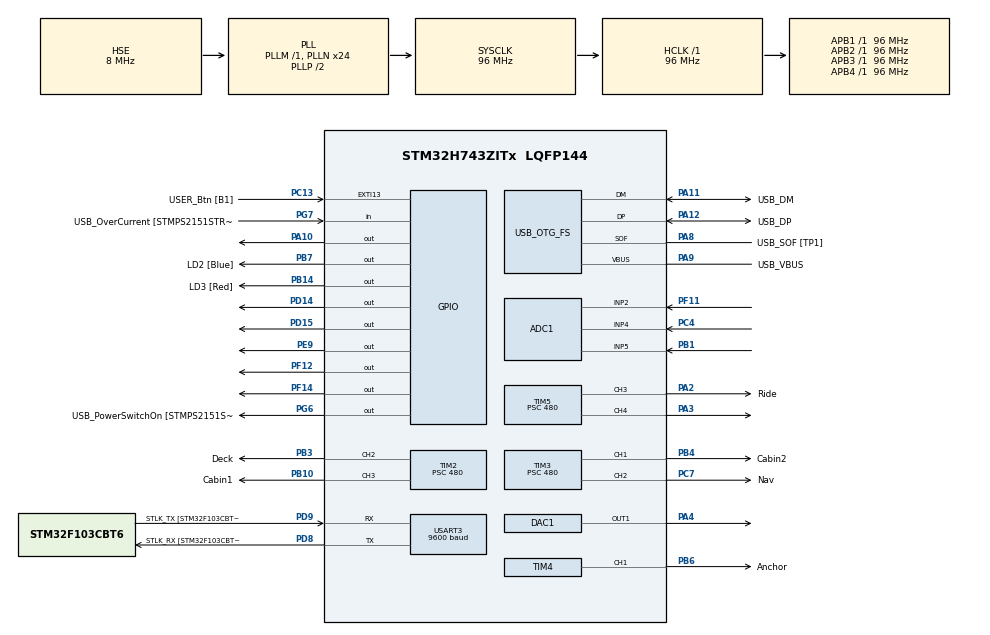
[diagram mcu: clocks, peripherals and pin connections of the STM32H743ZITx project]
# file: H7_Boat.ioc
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ADC1.Channel-0\#ChannelRegularConversion=ADC_CHANNEL_2
ADC1.Channel-1\#ChannelRegularConversion=ADC_CHANNEL_4
ADC1.Channel-3\#ChannelRegularConversion=ADC_CHANNEL_5
ADC1.ContinuousConvMode=DISABLE
ADC1.ConversionDataManagement=ADC_CONVERSIONDATA_DR
ADC1.DiscontinuousConvMode=DISABLE
ADC1.ExternalTrigConv=ADC_SOFTWARE_START
ADC1.LeftBitShift=ADC_LEFTBITSHIFT_NONE
ADC1.NbrOfConversion=3
ADC1.NbrOfConversionFlag=1
ADC1.OffsetNumber-0\#ChannelRegularConversion=ADC_OFFSET_NONE
ADC1.OffsetNumber-1\#ChannelRegularConversion=ADC_OFFSET_NONE
ADC1.OffsetNumber-3\#ChannelRegularConversion=ADC_OFFSET_NONE
ADC1.OversamplingMode=DISABLE
ADC1.Rank-0\#ChannelRegularConversion=1
ADC1.Rank-1\#ChannelRegularConversion=2
ADC1.Rank-3\#ChannelRegularConversion=3
ADC1.SamplingTime-0\#ChannelRegularConversion=ADC_SAMPLETIME_16CYCLES_5
ADC1.SamplingTime-1\#ChannelRegularConversion=ADC_SAMPLETIME_16CYCLES_5
ADC1.SamplingTime-3\#ChannelRegularConversion=ADC_SAMPLETIME_1CYCLE_5
ADC1.master=1
DAC1.DAC_SampleAndHold-DAC_OUT1=DAC_SAMPLEANDHOLD_DISABLE
Mcu.Family=STM32H7
Mcu.Name=STM32H743ZITx
Mcu.Package=LQFP144
NVIC.ADC_IRQn=true\:0\:0\:false\:false\:true\:true
NVIC.PriorityGroup=NVIC_PRIORITYGROUP_4
NVIC.TIM1_BRK_IRQn=true\:0\:0\:false\:false\:true\:true
NVIC.TIM1_CC_IRQn=true\:0\:0\:false\:false\:true\:true
NVIC.TIM1_TRG_COM_IRQn=true\:0\:0\:false\:false\:true\:true
NVIC.TIM1_UP_IRQn=true\:0\:0\:false\:false\:true\:true
NVIC.TIM3_IRQn=true\:0\:0\:false\:false\:true\:true
NVIC.TIM6_DAC_IRQn=true\:0\:0\:false\:false\:true\:true
NVIC.TIM8_BRK_TIM12_IRQn=true\:0\:0\:false\:false\:true\:true
NVIC.TIM8_CC_IRQn=true\:0\:0\:false\:false\:true\:true
NVIC.TIM8_TRG_COM_TIM14_IRQn=true\:0\:0\:false\:false\:true\:true
NVIC.TIM8_UP_TIM13_IRQn=true\:0\:0\:false\:false\:true\:true
NVIC.USART3_IRQn=true\:0\:0\:false\:false\:true\:true
PA10.Signal=GPIO_Output
PA11.GPIO_Label=USB_DM
PA11.Mode=Device_Only
PA11.Signal=USB_OTG_FS_DM
PA12.GPIO_Label=USB_DP
PA12.Mode=Device_Only
PA12.Signal=USB_OTG_FS_DP
PA13\ (JTMS/SWDIO).GPIO_Label=TMS
PA13\ (JTMS/SWDIO).Mode=Serial_Wire
PA13\ (JTMS/SWDIO).Signal=SYS_JTMS-SWDIO
PA14\ (JTCK/SWCLK).GPIO_Label=TCK
PA14\ (JTCK/SWCLK).Mode=Serial_Wire
PA14\ (JTCK/SWCLK).Signal=SYS_JTCK-SWCLK
PA2.GPIO_Label=Ride
PA2.Signal=S_TIM5_CH3
PA3.Signal=S_TIM5_CH4
PA4.Signal=COMP_DAC11_group
PA8.GPIO_Label=USB_SOF [TP1]
PA8.Mode=Activate_SOF_FS
PA8.Signal=USB_OTG_FS_SOF
PA9.GPIO_Label=USB_VBUS
PA9.Mode=Activate_VBUS
PA9.Signal=USB_OTG_FS_VBUS
PB1.Signal=ADCx_INP5
PB10.GPIO_Label=Cabin1
PB10.Signal=S_TIM2_CH3
PB14.GPIO_Label=LD3 [Red]
PB14.Signal=GPIO_Output
PB3\ (JTDO/TRACESWO).GPIO_Label=Deck
PB3\ (JTDO/TRACESWO).Signal=S_TIM2_CH2
PB4\ (NJTRST).GPIO_Label=Cabin2
PB4\ (NJTRST).Signal=S_TIM3_CH1
PB6.GPIO_Label=Anchor
PB6.Signal=S_TIM4_CH1
PB7.GPIO_Label=LD2 [Blue]
PB7.Signal=GPIO_Output
PC13.GPIO_Label=USER_Btn [B1]
PC13.Signal=GPXTI13
PC14-OSC32_IN\ (OSC32_IN).Mode=LSE-External-Oscillator
PC14-OSC32_IN\ (OSC32_IN).Signal=RCC_OSC32_IN
PC15-OSC32_OUT\ (OSC32_OUT).Mode=LSE-External-Oscillator
PC15-OSC32_OUT\ (OSC32_OUT).Signal=RCC_OSC32_OUT
PC4.Signal=ADCx_INP4
PC7.GPIO_Label=Nav
PC7.Signal=S_TIM3_CH2
PD14.Signal=GPIO_Output
PD15.Signal=GPIO_Output
PD8.GPIO_Label=STLK_RX [STM32F103CBT6_PA3]
PD8.Mode=Asynchronous
PD8.Signal=USART3_TX
PD9.GPIO_Label=STLK_TX [STM32F103CBT6_PA2]
PD9.Mode=Asynchronous
PD9.Signal=USART3_RX
PE9.Signal=GPIO_Output
PF11.Mode=IN2-Single-Ended
PF11.Signal=ADC1_INP2
PF12.Signal=GPIO_Output
PF14.Signal=GPIO_Output
PG6.GPIO_Label=USB_PowerSwitchOn [STMPS2151STR_EN]
PG6.Signal=GPIO_Output
PG7.GPIO_Label=USB_OverCurrent [STMPS2151STR_FAULT]
PG7.Signal=GPIO_Input
PH0-OSC_IN\ (PH0).GPIO_Label=MCO
PH0-OSC_IN\ (PH0).Mode=HSE-External-Oscillator
PH0-OSC_IN\ (PH0).Signal=RCC_OSC_IN
PH1-OSC_OUT\ (PH1).Mode=HSE-External-Oscillator
PH1-OSC_OUT\ (PH1).Signal=RCC_OSC_OUT
ProjectManager.HeapSize=0x200
ProjectManager.StackSize=0x400
ProjectManager.TargetToolchain=TrueSTUDIO
RCC.48MHZClocksFreq_Value=24000000
RCC.ADCCLockSelection=RCC_ADCCLKSOURCE_CLKP
RCC.ADCFreq_Value=64000000
RCC.AHBFreq_Value=216000000
RCC.APB1CLKDivider=RCC_HCLK_DIV4
RCC.APB1Freq_Value=96000000
RCC.APB1TimFreq_Value=108000000
RCC.APB2CLKDivider=RCC_HCLK_DIV2
RCC.APB2Freq_Value=96000000
RCC.APB2TimFreq_Value=216000000
RCC.APB3Freq_Value=96000000
RCC.APB4Freq_Value=96000000
RCC.CortexFreq_Value=96000000
RCC.DIVM1=1
RCC.DIVM2=8
RCC.DIVN1=24
RCC.DIVN2=156
RCC.DIVP2=8
RCC.DIVQ1=4
RCC.HCLKFreq_Value=96000000
RCC.HSE_VALUE=8000000
RCC.HSI_VALUE=64000000
RCC.PLLM=25
RCC.PLLMUL=RCC_PLL_MUL9
RCC.PLLN=432
RCC.PLLQ=9
RCC.PRESCALERUSB=RCC_USBCLKSOURCE_PLL_DIV1_5
RCC.SYSCLKFreq_VALUE=96000000
RCC.SYSCLKSource=RCC_SYSCLKSOURCE_PLLCLK
RCC.SYSCLKSourceVirtual=RCC_SYSCLKSOURCE_PLLCLK
RCC.USBFreq_Value=48000000
RCC.VCOOutputFreq_Value=432000000
SH.ADCx_INP4.0=ADC1_INP4,IN4-Single-Ended
SH.ADCx_INP5.0=ADC1_INP5,IN5-Single-Ended
SH.COMP_DAC11_group.0=DAC1_OUT1,DAC_OUT1
SH.S_TIM2_CH2.0=TIM2_CH2,PWM Generation2 CH2
SH.S_TIM2_CH3.0=TIM2_CH3,PWM Generation3 CH3
SH.S_TIM3_CH1.0=TIM3_CH1,PWM Generation1 CH1
SH.S_TIM3_CH2.0=TIM3_CH2,PWM Generation2 CH2
SH.S_TIM4_CH1.0=TIM4_CH1,PWM Generation1 CH1
SH.S_TIM5_CH3.0=TIM5_CH3,PWM Generation3 CH3
SH.S_TIM5_CH4.0=TIM5_CH4,PWM Generation4 CH4
TIM1.AutoReloadPreload=TIM_AUTORELOAD_PRELOAD_ENABLE
TIM1.Channel-Output\ Compare1\ No\ Output=TIM_CHANNEL_1
TIM1.Period=19960
TIM1.Prescaler=48000
TIM13.AutoReloadPreload=TIM_AUTORELOAD_PRELOAD_ENABLE
TIM13.Channel=TIM_CHANNEL_1
TIM13.Period=333
TIM13.Prescaler=480
TIM2.AutoReloadPreload=TIM_AUTORELOAD_PRELOAD_ENABLE
TIM2.Channel-PWM\ Generation2\ CH2=TIM_CHANNEL_2
TIM2.Channel-PWM\ Generation3\ CH3=TIM_CHANNEL_3
TIM2.Period=499
TIM2.Prescaler=480
TIM3.AutoReloadPreload=TIM_AUTORELOAD_PRELOAD_ENABLE
TIM3.Channel-PWM\ Generation1\ CH1=TIM_CHANNEL_1
TIM3.Channel-PWM\ Generation2\ CH2=TIM_CHANNEL_2
TIM3.Period=499
TIM3.Prescaler=480
TIM4.AutoReloadPreload=TIM_AUTORELOAD_PRELOAD_ENABLE
TIM4.Channel-PWM\ Generation1\ CH1=TIM_CHANNEL_1
TIM4.Period=499
TIM4.Prescaler=480
TIM5.AutoReloadPreload=TIM_AUTORELOAD_PRELOAD_ENABLE
TIM5.Channel-PWM\ Generation3\ CH3=TIM_CHANNEL_3
TIM5.Channel-PWM\ Generation4\ CH4=TIM_CHANNEL_4
TIM5.Period=499
TIM5.Prescaler=480
TIM8.AutoReloadPreload=TIM_AUTORELOAD_PRELOAD_ENABLE
TIM8.Channel-Output\ Compare1\ No\ Output=TIM_CHANNEL_1
TIM8.Period=29940
TIM8.Prescaler=48000
USART3.BaudRate=9600
USART3.VirtualMode-Asynchronous=VM_ASYNC
USB_OTG_FS.VirtualMode=Device_Only
VP_TIM13_VS_ClockSourceINT.Mode=Enable_Timer
VP_TIM13_VS_no_output1.Mode=Output Compare1 No Output
VP_TIM1_VS_ClockSourceINT.Mode=Internal
VP_TIM1_VS_no_output1.Mode=Output Compare1 No Output
VP_TIM2_VS_ClockSourceINT.Mode=Internal
VP_TIM3_VS_ClockSourceINT.Mode=Internal
VP_TIM4_VS_ClockSourceINT.Mode=Internal
VP_TIM5_VS_ClockSourceINT.Mode=Internal
VP_TIM8_VS_ClockSourceINT.Mode=Internal
VP_TIM8_VS_no_output1.Mode=Output Compare1 No Output
board=NUCLEO-H743ZI

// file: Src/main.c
/* USER CODE BEGIN Header */
/**
  ******************************************************************************
  * @file           : main.c
  * @brief          : Main program body
  ******************************************************************************
  ** This notice applies to any and all portions of this file
  * that are not between comment pairs USER CODE BEGIN and
  * USER CODE END. Other portions of this file, whether
  * inserted by the user or by software development tools
  * are owned by their respective copyright owners.
  *
  * COPYRIGHT(c) 2019 STMicroelectronics
  *
  * Redistribution and use in source and binary forms, with or without modification,
  * are permitted provided that the following conditions are met:
  *   1. Redistributions of source code must retain the above copyright notice,
  *      this list of conditions and the following disclaimer.
  *   2. Redistributions in binary form must reproduce the above copyright notice,
  *      this list of conditions and the following disclaimer in the documentation
  *      and/or other materials provided with the distribution.
  *   3. Neither the name of STMicroelectronics nor the names of its contributors
  *      may be used to endorse or promote products derived from this software
  *      without specific prior written permission.
  *
  * THIS SOFTWARE IS PROVIDED BY THE COPYRIGHT HOLDERS AND CONTRIBUTORS "AS IS"
  * AND ANY EXPRESS OR IMPLIED WARRANTIES, INCLUDING, BUT NOT LIMITED TO, THE
  * IMPLIED WARRANTIES OF MERCHANTABILITY AND FITNESS FOR A PARTICULAR PURPOSE ARE
  * DISCLAIMED. IN NO EVENT SHALL THE COPYRIGHT HOLDER OR CONTRIBUTORS BE LIABLE
  * FOR ANY DIRECT, INDIRECT, INCIDENTAL, SPECIAL, EXEMPLARY, OR CONSEQUENTIAL
  * DAMAGES (INCLUDING, BUT NOT LIMITED TO, PROCUREMENT OF SUBSTITUTE GOODS OR
  * SERVICES; LOSS OF USE, DATA, OR PROFITS; OR BUSINESS INTERRUPTION) HOWEVER
  * CAUSED AND ON ANY THEORY OF LIABILITY, WHETHER IN CONTRACT, STRICT LIABILITY,
  * OR TORT (INCLUDING NEGLIGENCE OR OTHERWISE) ARISING IN ANY WAY OUT OF THE USE
  * OF THIS SOFTWARE, EVEN IF ADVISED OF THE POSSIBILITY OF SUCH DAMAGE.
  *
  ******************************************************************************
  */
/* USER CODE END Header */

#include "main.h"

/* USER CODE BEGIN Includes */
#include <string.h>
#include <stdio.h>
#include <stdlib.h>
/* USER CODE END Includes */

/* USER CODE BEGIN PD */
#define DACResolution 12
#define TurnOn 3000
#define OutMax 4096
#define Averages 5
#define SetpointStep 10
#define MaximumSD 50
#define CalibrationDelay 10000
#define MaxCommands 10
#define Threshold 8
#define SampleTimeInSec 0.1
#define AUTOMATIC 1
#define MANUAL 0
#define UpdateStall 30
/* USER CODE END PD */

ADC_HandleTypeDef hadc1;

DAC_HandleTypeDef hdac1;

TIM_HandleTypeDef htim1;
TIM_HandleTypeDef htim2;
TIM_HandleTypeDef htim3;
TIM_HandleTypeDef htim4;
TIM_HandleTypeDef htim5;
TIM_HandleTypeDef htim8;
TIM_HandleTypeDef htim13;

UART_HandleTypeDef huart3;

PCD_HandleTypeDef hpcd_USB_OTG_FS;

/* USER CODE BEGIN PV */

int len, PWM;
char  Rx_index, Rx_data[2], Rx_Buffer[100], Transfer_cplt, buffer[100], bufferEcho[100];
char strt = '!', del = '!', Start, Timer, Channel, Brightness[4]="300", Rx_String[100];

unsigned char j;
uint8_t Device, State;

/* Buffer used for transmission */

unsigned Setpoint = TurnOn;
unsigned MaxSetpoint = 4086;
float PreviousVoltages[Averages];
float MeanVoltage;
float AverageVoltage;
unsigned Calibrating = 0;

char *Command[MaxCommands];
unsigned WordIndex;

unsigned ADC_raw[3];
float ADC_float[3];
float LOAD_CURRENT;
float LOAD_VOLTAGE;
float TEMPERATURE;

float mVoltsPerBit = 0.00005035;	//(3.300/65535)
float mAmpsPerBit = 0.00005035;	//(3.300/65535)
float DegsPerBit = ((0.107421875/256));	//(3.3/65535)/0.01
float ScaleFactor = 1;
float offset = -1024;
unsigned Vout = 128;

uint8_t inAuto = 0;
int Input, lastInput, Output, kp = 10, kd = 1; updateCount = 0;

/* USER CODE END PV */

void SystemClock_Config(void);
static void MX_GPIO_Init(void);
static void MX_USART3_UART_Init(void);
static void MX_USB_OTG_FS_PCD_Init(void);
static void MX_ADC1_Init(void);
static void MX_DAC1_Init(void);
static void MX_TIM3_Init(void);
static void MX_TIM4_Init(void);
static void MX_TIM2_Init(void);
static void MX_TIM5_Init(void);
static void MX_TIM8_Init(void);
static void MX_TIM1_Init(void);
static void MX_TIM13_Init(void);
/* USER CODE BEGIN PFP */
static void StringSort(void);
static void CalculateValues(void);
static void SendValues(void);
/* USER CODE END PFP */

/* USER CODE BEGIN 0 */
void CalculateValues(void){
	LOAD_VOLTAGE = (((ADC_float[2]*ScaleFactor)+offset)*mVoltsPerBit);
	if (Calibrating == 1){return;}
	LOAD_CURRENT = (((ADC_float[0]*ScaleFactor)+offset)*mAmpsPerBit);
	TEMPERATURE = (((ADC_float[1]*ScaleFactor)+offset)*DegsPerBit);
	updatePID();
	updateCount++;
	if(updateCount==UpdateStall){
		updateCount==0;
		SendValues();
	}
}

void SendValues(void){

	len=sprintf(buffer, "!Voltage!%.3f!\n", (LOAD_VOLTAGE));
	HAL_UART_Transmit(&huart3, buffer, len, 1000);

	len=sprintf(buffer, "!Current!%.3f!\n", LOAD_CURRENT);
	HAL_UART_Transmit(&huart3, buffer, len, 1000);

	len=sprintf(buffer, "!Temperature!%.3f!\n", TEMPERATURE);
	HAL_UART_Transmit(&huart3, buffer, len, 1000);
}

void HAL_ADC_ConvCpltCallback(ADC_HandleTypeDef*hadc){
	uint8_t i;
	 if (__HAL_ADC_GET_FLAG(hadc, ADC_FLAG_EOC))
	  {
	  ADC_raw[i] = HAL_ADC_GetValue(hadc);
	  ADC_float[i] = (float)ADC_raw[i];
	  i++;

	  }
	if (__HAL_ADC_GET_FLAG(hadc, ADC_FLAG_EOS))
		{
			ADC_raw[i] = HAL_ADC_GetValue(hadc);
			ADC_float[i] = (float)ADC_raw[i];
			i=0;
			CalculateValues();
		}
}

void HAL_TIM_PeriodElapsedCallback(TIM_HandleTypeDef *htim)
{
    if (htim->Instance==TIM8) //check if the interrupt comes from TIM8
        {
			len=sprintf(buffer, "!Protection 1 Alive!!\n");
			HAL_UART_Transmit(&huart3, buffer, len, 1000);
        }
    if (htim->Instance==TIM1) {
    	if (Calibrating == 1){return;}
        	HAL_ADC_Start_IT(&hadc1);
        }
}

void Calibrate(void){
	Calibrating=1;											// Enable the Calibrating flag to disable normal voltage/current/temperature measurements
	float VoltageSum = 0;
	float SD = 5;
	float Difference;
	float Varsum;
	float Variance;
	float MeanVoltages[100];
	unsigned k=0;
	unsigned m=0;

recalibrate:
	for (Setpoint=TurnOn; Setpoint < MaxSetpoint; Setpoint = Setpoint + SetpointStep){

		while (SD > MaximumSD) {
			VoltageSum = 0;
			Difference = 0;
			Variance = 0;
			Varsum = 0;
			k=0;

			while (k<Averages){
				HAL_ADC_Start_IT(&hadc1);					// Take ADC readings
				PreviousVoltages[k]=LOAD_VOLTAGE;
				HAL_Delay(CalibrationDelay);
				k++;
				VoltageSum = VoltageSum + LOAD_VOLTAGE;		// Add the current LOAD_VOLTAGE to the running sum
				MeanVoltage = (VoltageSum/k);				// and take the mean
				Difference = LOAD_VOLTAGE - MeanVoltage;	// The difference is the current LOAD_VOLTAGE less the running MeanVoltage
				Varsum = Varsum + pow(Difference,2);		// and Varsum is the running sum of the squares of the Difference
			}
		  Variance = Varsum / (float)k;
		  SD = sqrt(Variance);
		}
		MeanVoltages[m]=MeanVoltage;
		m++;
	}

	for (m=0; m<100; m++) {
		VoltageSum = 0;
		Difference = 0;
		Variance = 0;
		Varsum = 0;
		k=0;

		while (k<5){
			k++;
			MeanVoltages[(m+k)];
			VoltageSum = VoltageSum + LOAD_VOLTAGE;
			MeanVoltage = (VoltageSum/k);
			Difference = LOAD_VOLTAGE - MeanVoltage;
			Varsum = Varsum + pow(Difference,2);
		}
	  Variance = Varsum / (float)k;
	  SD = sqrt(Variance);
	  if (SD<Threshold ){
		  Setpoint=(TurnOn+(m*SetpointStep));				// Set the new Setpoint
		  Calibrating=0;									// Disable the Calibrating flag to resume normal voltage/current/temperature measurements
		  return;											// break and return from the loop
	  }
	}
	/*
	 * If this is reached calibration failed
	 */
	len=sprintf(buffer, "!CalibrationFailed!1!");			// Report the failure
	HAL_UART_Transmit(&huart3, buffer, len, 1000);
	goto recalibrate;										// and attempt to recalibrate
	SetMode(AUTOMATIC);
}

void updatePID(void){
	   if(!inAuto) return;

	  /*Compute all the working error variables*/
	  Input = ((ADC_float[2]*ScaleFactor)+offset);			// Take the corrected ADC value for voltage and store as input
	  double error = Setpoint - Input;						// Find the error value
	  double dInput = (Input - lastInput);					// Input difference

	  /*Compute PID Output*/
	  Output = kp * error - kd * dInput;					// Find the new output
	  if(Output > OutMax) Output = OutMax;					// Stop wind-up
	  else if(Output < TurnOn) Output = TurnOn;				// Stop wind-down
	  HAL_DAC_SetValue(&hdac1, DAC_CHANNEL_1, DAC_ALIGN_8B_R, Output);
}

void SetTunings(double Kp, double Kd)
{
   if (Kp<0 || Kd<0) return;
   kp = Kp;
   kd = Kd / SampleTimeInSec;
}

void InitialisePID(){
	lastInput=Input;
}

void SetMode(int Mode)
{
    uint8_t newAuto = (Mode == AUTOMATIC);
    if(newAuto == !inAuto)
    {  /*we just went from manual to auto*/
        Initialize();
    }
    inAuto = newAuto;
}

void UpdateSetpoint(void){
	HAL_DAC_SetValue(&hdac1, DAC_CHANNEL_1, DAC_ALIGN_8B_R, Setpoint);
}

/* USER CODE END 0 */

int main(void)
{

  /* MCU Configuration--------------------------------------------------------*/

  /* Reset of all peripherals, Initializes the Flash interface and the Systick. */
  HAL_Init();

  /* Configure the system clock */
  SystemClock_Config();

  /* Initialize all configured peripherals */
  MX_GPIO_Init();
  MX_USART3_UART_Init();
  MX_USB_OTG_FS_PCD_Init();
  MX_ADC1_Init();
  MX_DAC1_Init();
  MX_TIM3_Init();
  MX_TIM4_Init();
  MX_TIM2_Init();
  MX_TIM5_Init();
  MX_TIM8_Init();
  MX_TIM1_Init();
  MX_TIM13_Init();
  /* USER CODE BEGIN 2 */
  HAL_ADC_Start_IT(&hadc1);
  HAL_DAC_SetValue(&hdac1, DAC_CHANNEL_1, DAC_ALIGN_8B_R, Vout);
  HAL_DAC_Start(&hdac1, DAC_CHANNEL_1);
  HAL_TIM_Base_Start_IT(&htim1);
  HAL_TIM_Base_Start_IT(&htim8);

  HAL_UART_Receive_IT(&huart3, Rx_data, 1);	// Activate USART rx interrupt

//  HAL_TIM_PWM_Stop(&htim4, TIM_CHANNEL_1);
//  HAL_TIM_PWM_Stop(&htim3, TIM_CHANNEL_2);
//  HAL_TIM_PWM_Stop(&htim2, TIM_CHANNEL_3);
//  HAL_TIM_PWM_Stop(&htim3, TIM_CHANNEL_1);
//  HAL_TIM_PWM_Stop(&htim5, TIM_CHANNEL_3);
//  HAL_TIM_PWM_Stop(&htim2, TIM_CHANNEL_2);

//  AnchorPWM();
//  NavPWM();
//  DeckPWM();
//  //GalleyPWM();
//  Cabin1PWM();
//  Cabin2PWM();
//  RidePWM();

  Calibrate();

  /* USER CODE END 2 */

  /* Infinite loop */
  while (1)
  {

    /* USER CODE BEGIN 3 */

	  if (Transfer_cplt==1) {
		  StringSort();
		  Transfer_cplt=0;
	  }

  }
  /* USER CODE END 3 */
}

void SystemClock_Config(void)
{
  RCC_OscInitTypeDef RCC_OscInitStruct = {0};
  RCC_ClkInitTypeDef RCC_ClkInitStruct = {0};
  RCC_PeriphCLKInitTypeDef PeriphClkInitStruct = {0};

  /**Supply configuration update enable
  */
  MODIFY_REG(PWR->CR3, PWR_CR3_SCUEN, 0);
  /**Configure the main internal regulator output voltage
  */
  __HAL_PWR_VOLTAGESCALING_CONFIG(PWR_REGULATOR_VOLTAGE_SCALE3);

  while ((PWR->D3CR & (PWR_D3CR_VOSRDY)) != PWR_D3CR_VOSRDY)
  {

  }
  /**Initializes the CPU, AHB and APB busses clocks
  */
  RCC_OscInitStruct.OscillatorType = RCC_OSCILLATORTYPE_HSI|RCC_OSCILLATORTYPE_HSE;
  RCC_OscInitStruct.HSEState = RCC_HSE_ON;
  RCC_OscInitStruct.HSIState = RCC_HSI_DIV1;
  RCC_OscInitStruct.HSICalibrationValue = RCC_HSICALIBRATION_DEFAULT;
  RCC_OscInitStruct.PLL.PLLState = RCC_PLL_ON;
  RCC_OscInitStruct.PLL.PLLSource = RCC_PLLSOURCE_HSE;
  RCC_OscInitStruct.PLL.PLLM = 1;
  RCC_OscInitStruct.PLL.PLLN = 24;
  RCC_OscInitStruct.PLL.PLLP = 2;
  RCC_OscInitStruct.PLL.PLLQ = 4;
  RCC_OscInitStruct.PLL.PLLR = 2;
  RCC_OscInitStruct.PLL.PLLRGE = RCC_PLL1VCIRANGE_3;
  RCC_OscInitStruct.PLL.PLLVCOSEL = RCC_PLL1VCOWIDE;
  RCC_OscInitStruct.PLL.PLLFRACN = 0;
  if (HAL_RCC_OscConfig(&RCC_OscInitStruct) != HAL_OK)
  {
    Error_Handler();
  }
  /**Initializes the CPU, AHB and APB busses clocks
  */
  RCC_ClkInitStruct.ClockType = RCC_CLOCKTYPE_HCLK|RCC_CLOCKTYPE_SYSCLK
                              |RCC_CLOCKTYPE_PCLK1|RCC_CLOCKTYPE_PCLK2
                              |RCC_CLOCKTYPE_D3PCLK1|RCC_CLOCKTYPE_D1PCLK1;
  RCC_ClkInitStruct.SYSCLKSource = RCC_SYSCLKSOURCE_PLLCLK;
  RCC_ClkInitStruct.SYSCLKDivider = RCC_SYSCLK_DIV1;
  RCC_ClkInitStruct.AHBCLKDivider = RCC_HCLK_DIV1;
  RCC_ClkInitStruct.APB3CLKDivider = RCC_APB3_DIV1;
  RCC_ClkInitStruct.APB1CLKDivider = RCC_APB1_DIV1;
  RCC_ClkInitStruct.APB2CLKDivider = RCC_APB2_DIV1;
  RCC_ClkInitStruct.APB4CLKDivider = RCC_APB4_DIV1;

  if (HAL_RCC_ClockConfig(&RCC_ClkInitStruct, FLASH_LATENCY_1) != HAL_OK)
  {
    Error_Handler();
  }
  PeriphClkInitStruct.PeriphClockSelection = RCC_PERIPHCLK_USART3|RCC_PERIPHCLK_ADC
                              |RCC_PERIPHCLK_USB|RCC_PERIPHCLK_CKPER;
  PeriphClkInitStruct.CkperClockSelection = RCC_CLKPSOURCE_HSI;
  PeriphClkInitStruct.Usart234578ClockSelection = RCC_USART234578CLKSOURCE_D2PCLK1;
  PeriphClkInitStruct.UsbClockSelection = RCC_USBCLKSOURCE_PLL;
  PeriphClkInitStruct.AdcClockSelection = RCC_ADCCLKSOURCE_CLKP;
  if (HAL_RCCEx_PeriphCLKConfig(&PeriphClkInitStruct) != HAL_OK)
  {
    Error_Handler();
  }
}

static void MX_ADC1_Init(void)
{

  ADC_MultiModeTypeDef multimode = {0};
  ADC_ChannelConfTypeDef sConfig = {0};

  /**Common config
  */
  hadc1.Instance = ADC1;
  hadc1.Init.ClockPrescaler = ADC_CLOCK_ASYNC_DIV1;
  hadc1.Init.Resolution = ADC_RESOLUTION_16B;
  hadc1.Init.ScanConvMode = ADC_SCAN_ENABLE;
  hadc1.Init.EOCSelection = ADC_EOC_SINGLE_CONV;
  hadc1.Init.LowPowerAutoWait = DISABLE;
  hadc1.Init.ContinuousConvMode = DISABLE;
  hadc1.Init.NbrOfConversion = 3;
  hadc1.Init.DiscontinuousConvMode = DISABLE;
  hadc1.Init.ExternalTrigConv = ADC_SOFTWARE_START;
  hadc1.Init.ExternalTrigConvEdge = ADC_EXTERNALTRIGCONVEDGE_NONE;
  hadc1.Init.ConversionDataManagement = ADC_CONVERSIONDATA_DR;
  hadc1.Init.Overrun = ADC_OVR_DATA_PRESERVED;
  hadc1.Init.LeftBitShift = ADC_LEFTBITSHIFT_NONE;
  hadc1.Init.BoostMode = DISABLE;
  hadc1.Init.OversamplingMode = DISABLE;
  if (HAL_ADC_Init(&hadc1) != HAL_OK)
  {
    Error_Handler();
  }
  /**Configure the ADC multi-mode
  */
  multimode.Mode = ADC_MODE_INDEPENDENT;
  if (HAL_ADCEx_MultiModeConfigChannel(&hadc1, &multimode) != HAL_OK)
  {
    Error_Handler();
  }
  /**Configure Regular Channel
  */
  sConfig.Channel = ADC_CHANNEL_2;
  sConfig.Rank = ADC_REGULAR_RANK_1;
  sConfig.SamplingTime = ADC_SAMPLETIME_16CYCLES_5;
  sConfig.SingleDiff = ADC_SINGLE_ENDED;
  sConfig.OffsetNumber = ADC_OFFSET_NONE;
  sConfig.Offset = 0;
  if (HAL_ADC_ConfigChannel(&hadc1, &sConfig) != HAL_OK)
  {
    Error_Handler();
  }
  /**Configure Regular Channel
  */
  sConfig.Channel = ADC_CHANNEL_4;
  sConfig.Rank = ADC_REGULAR_RANK_2;
  if (HAL_ADC_ConfigChannel(&hadc1, &sConfig) != HAL_OK)
  {
    Error_Handler();
  }
  /**Configure Regular Channel
  */
  sConfig.Channel = ADC_CHANNEL_5;
  sConfig.Rank = ADC_REGULAR_RANK_3;
  sConfig.SamplingTime = ADC_SAMPLETIME_1CYCLE_5;
  if (HAL_ADC_ConfigChannel(&hadc1, &sConfig) != HAL_OK)
  {
    Error_Handler();
  }

}

static void MX_DAC1_Init(void)
{

  DAC_ChannelConfTypeDef sConfig = {0};

  /**DAC Initialization
  */
  hdac1.Instance = DAC1;
  if (HAL_DAC_Init(&hdac1) != HAL_OK)
  {
    Error_Handler();
  }
  /**DAC channel OUT1 config
  */
  sConfig.DAC_SampleAndHold = DAC_SAMPLEANDHOLD_DISABLE;
  sConfig.DAC_Trigger = DAC_TRIGGER_NONE;
  sConfig.DAC_OutputBuffer = DAC_OUTPUTBUFFER_ENABLE;
  sConfig.DAC_ConnectOnChipPeripheral = DAC_CHIPCONNECT_DISABLE;
  sConfig.DAC_UserTrimming = DAC_TRIMMING_FACTORY;
  if (HAL_DAC_ConfigChannel(&hdac1, &sConfig, DAC_CHANNEL_1) != HAL_OK)
  {
    Error_Handler();
  }

}

static void MX_TIM1_Init(void)
{

  TIM_ClockConfigTypeDef sClockSourceConfig = {0};
  TIM_MasterConfigTypeDef sMasterConfig = {0};
  TIM_OC_InitTypeDef sConfigOC = {0};
  TIM_BreakDeadTimeConfigTypeDef sBreakDeadTimeConfig = {0};

  htim1.Instance = TIM1;
  htim1.Init.Prescaler = 48000;
  htim1.Init.CounterMode = TIM_COUNTERMODE_UP;
  htim1.Init.Period = 19960;
  htim1.Init.ClockDivision = TIM_CLOCKDIVISION_DIV1;
  htim1.Init.RepetitionCounter = 0;
  htim1.Init.AutoReloadPreload = TIM_AUTORELOAD_PRELOAD_ENABLE;
  if (HAL_TIM_Base_Init(&htim1) != HAL_OK)
  {
    Error_Handler();
  }
  sClockSourceConfig.ClockSource = TIM_CLOCKSOURCE_INTERNAL;
  if (HAL_TIM_ConfigClockSource(&htim1, &sClockSourceConfig) != HAL_OK)
  {
    Error_Handler();
  }
  if (HAL_TIM_OC_Init(&htim1) != HAL_OK)
  {
    Error_Handler();
  }
  sMasterConfig.MasterOutputTrigger = TIM_TRGO_RESET;
  sMasterConfig.MasterOutputTrigger2 = TIM_TRGO2_RESET;
  sMasterConfig.MasterSlaveMode = TIM_MASTERSLAVEMODE_DISABLE;
  if (HAL_TIMEx_MasterConfigSynchronization(&htim1, &sMasterConfig) != HAL_OK)
  {
    Error_Handler();
  }
  sConfigOC.OCMode = TIM_OCMODE_TIMING;
  sConfigOC.Pulse = 0;
  sConfigOC.OCPolarity = TIM_OCPOLARITY_HIGH;
  sConfigOC.OCNPolarity = TIM_OCNPOLARITY_HIGH;
  sConfigOC.OCFastMode = TIM_OCFAST_DISABLE;
  sConfigOC.OCIdleState = TIM_OCIDLESTATE_RESET;
  sConfigOC.OCNIdleState = TIM_OCNIDLESTATE_RESET;
  if (HAL_TIM_OC_ConfigChannel(&htim1, &sConfigOC, TIM_CHANNEL_1) != HAL_OK)
  {
    Error_Handler();
  }
  sBreakDeadTimeConfig.OffStateRunMode = TIM_OSSR_DISABLE;
  sBreakDeadTimeConfig.OffStateIDLEMode = TIM_OSSI_DISABLE;
  sBreakDeadTimeConfig.LockLevel = TIM_LOCKLEVEL_OFF;
  sBreakDeadTimeConfig.DeadTime = 0;
  sBreakDeadTimeConfig.BreakState = TIM_BREAK_DISABLE;
  sBreakDeadTimeConfig.BreakPolarity = TIM_BREAKPOLARITY_HIGH;
  sBreakDeadTimeConfig.BreakFilter = 0;
  sBreakDeadTimeConfig.Break2State = TIM_BREAK2_DISABLE;
  sBreakDeadTimeConfig.Break2Polarity = TIM_BREAK2POLARITY_HIGH;
  sBreakDeadTimeConfig.Break2Filter = 0;
  sBreakDeadTimeConfig.AutomaticOutput = TIM_AUTOMATICOUTPUT_DISABLE;
  if (HAL_TIMEx_ConfigBreakDeadTime(&htim1, &sBreakDeadTimeConfig) != HAL_OK)
  {
    Error_Handler();
  }

}

static void MX_TIM2_Init(void)
{

  TIM_ClockConfigTypeDef sClockSourceConfig = {0};
  TIM_MasterConfigTypeDef sMasterConfig = {0};
  TIM_OC_InitTypeDef sConfigOC = {0};

  htim2.Instance = TIM2;
  htim2.Init.Prescaler = 480;
  htim2.Init.CounterMode = TIM_COUNTERMODE_UP;
  htim2.Init.Period = 499;
  htim2.Init.ClockDivision = TIM_CLOCKDIVISION_DIV1;
  htim2.Init.AutoReloadPreload = TIM_AUTORELOAD_PRELOAD_ENABLE;
  if (HAL_TIM_Base_Init(&htim2) != HAL_OK)
  {
    Error_Handler();
  }
  sClockSourceConfig.ClockSource = TIM_CLOCKSOURCE_INTERNAL;
  if (HAL_TIM_ConfigClockSource(&htim2, &sClockSourceConfig) != HAL_OK)
  {
    Error_Handler();
  }
  if (HAL_TIM_PWM_Init(&htim2) != HAL_OK)
  {
    Error_Handler();
  }
  sMasterConfig.MasterOutputTrigger = TIM_TRGO_RESET;
  sMasterConfig.MasterSlaveMode = TIM_MASTERSLAVEMODE_DISABLE;
  if (HAL_TIMEx_MasterConfigSynchronization(&htim2, &sMasterConfig) != HAL_OK)
  {
    Error_Handler();
  }
  sConfigOC.OCMode = TIM_OCMODE_PWM1;
  sConfigOC.Pulse = 0;
  sConfigOC.OCPolarity = TIM_OCPOLARITY_HIGH;
  sConfigOC.OCFastMode = TIM_OCFAST_DISABLE;
  if (HAL_TIM_PWM_ConfigChannel(&htim2, &sConfigOC, TIM_CHANNEL_2) != HAL_OK)
  {
    Error_Handler();
  }
  if (HAL_TIM_PWM_ConfigChannel(&htim2, &sConfigOC, TIM_CHANNEL_3) != HAL_OK)
  {
    Error_Handler();
  }
  HAL_TIM_MspPostInit(&htim2);

}

static void MX_TIM3_Init(void)
{

  TIM_ClockConfigTypeDef sClockSourceConfig = {0};
  TIM_MasterConfigTypeDef sMasterConfig = {0};
  TIM_OC_InitTypeDef sConfigOC = {0};

  htim3.Instance = TIM3;
  htim3.Init.Prescaler = 480;
  htim3.Init.CounterMode = TIM_COUNTERMODE_UP;
  htim3.Init.Period = 499;
  htim3.Init.ClockDivision = TIM_CLOCKDIVISION_DIV1;
  htim3.Init.AutoReloadPreload = TIM_AUTORELOAD_PRELOAD_ENABLE;
  if (HAL_TIM_Base_Init(&htim3) != HAL_OK)
  {
    Error_Handler();
  }
  sClockSourceConfig.ClockSource = TIM_CLOCKSOURCE_INTERNAL;
  if (HAL_TIM_ConfigClockSource(&htim3, &sClockSourceConfig) != HAL_OK)
  {
    Error_Handler();
  }
  if (HAL_TIM_PWM_Init(&htim3) != HAL_OK)
  {
    Error_Handler();
  }
  sMasterConfig.MasterOutputTrigger = TIM_TRGO_RESET;
  sMasterConfig.MasterSlaveMode = TIM_MASTERSLAVEMODE_DISABLE;
  if (HAL_TIMEx_MasterConfigSynchronization(&htim3, &sMasterConfig) != HAL_OK)
  {
    Error_Handler();
  }
  sConfigOC.OCMode = TIM_OCMODE_PWM1;
  sConfigOC.Pulse = 0;
  sConfigOC.OCPolarity = TIM_OCPOLARITY_HIGH;
  sConfigOC.OCFastMode = TIM_OCFAST_DISABLE;
  if (HAL_TIM_PWM_ConfigChannel(&htim3, &sConfigOC, TIM_CHANNEL_1) != HAL_OK)
  {
    Error_Handler();
  }
  if (HAL_TIM_PWM_ConfigChannel(&htim3, &sConfigOC, TIM_CHANNEL_2) != HAL_OK)
  {
    Error_Handler();
  }
  HAL_TIM_MspPostInit(&htim3);

}

static void MX_TIM4_Init(void)
{

  TIM_ClockConfigTypeDef sClockSourceConfig = {0};
  TIM_MasterConfigTypeDef sMasterConfig = {0};
  TIM_OC_InitTypeDef sConfigOC = {0};

  htim4.Instance = TIM4;
  htim4.Init.Prescaler = 480;
  htim4.Init.CounterMode = TIM_COUNTERMODE_UP;
  htim4.Init.Period = 499;
  htim4.Init.ClockDivision = TIM_CLOCKDIVISION_DIV1;
  htim4.Init.AutoReloadPreload = TIM_AUTORELOAD_PRELOAD_ENABLE;
  if (HAL_TIM_Base_Init(&htim4) != HAL_OK)
  {
    Error_Handler();
  }
  sClockSourceConfig.ClockSource = TIM_CLOCKSOURCE_INTERNAL;
  if (HAL_TIM_ConfigClockSource(&htim4, &sClockSourceConfig) != HAL_OK)
  {
    Error_Handler();
  }
  if (HAL_TIM_PWM_Init(&htim4) != HAL_OK)
  {
    Error_Handler();
  }
  sMasterConfig.MasterOutputTrigger = TIM_TRGO_RESET;
  sMasterConfig.MasterSlaveMode = TIM_MASTERSLAVEMODE_DISABLE;
  if (HAL_TIMEx_MasterConfigSynchronization(&htim4, &sMasterConfig) != HAL_OK)
  {
    Error_Handler();
  }
  sConfigOC.OCMode = TIM_OCMODE_PWM1;
  sConfigOC.Pulse = 0;
  sConfigOC.OCPolarity = TIM_OCPOLARITY_HIGH;
  sConfigOC.OCFastMode = TIM_OCFAST_DISABLE;
  if (HAL_TIM_PWM_ConfigChannel(&htim4, &sConfigOC, TIM_CHANNEL_1) != HAL_OK)
  {
    Error_Handler();
  }
  HAL_TIM_MspPostInit(&htim4);

}

static void MX_TIM5_Init(void)
{

  TIM_ClockConfigTypeDef sClockSourceConfig = {0};
  TIM_MasterConfigTypeDef sMasterConfig = {0};
  TIM_OC_InitTypeDef sConfigOC = {0};

  htim5.Instance = TIM5;
  htim5.Init.Prescaler = 480;
  htim5.Init.CounterMode = TIM_COUNTERMODE_UP;
  htim5.Init.Period = 499;
  htim5.Init.ClockDivision = TIM_CLOCKDIVISION_DIV1;
  htim5.Init.AutoReloadPreload = TIM_AUTORELOAD_PRELOAD_ENABLE;
  if (HAL_TIM_Base_Init(&htim5) != HAL_OK)
  {
    Error_Handler();
  }
  sClockSourceConfig.ClockSource = TIM_CLOCKSOURCE_INTERNAL;
  if (HAL_TIM_ConfigClockSource(&htim5, &sClockSourceConfig) != HAL_OK)
  {
    Error_Handler();
  }
  if (HAL_TIM_PWM_Init(&htim5) != HAL_OK)
  {
    Error_Handler();
  }
  sMasterConfig.MasterOutputTrigger = TIM_TRGO_RESET;
  sMasterConfig.MasterSlaveMode = TIM_MASTERSLAVEMODE_DISABLE;
  if (HAL_TIMEx_MasterConfigSynchronization(&htim5, &sMasterConfig) != HAL_OK)
  {
    Error_Handler();
  }
  sConfigOC.OCMode = TIM_OCMODE_PWM1;
  sConfigOC.Pulse = 0;
  sConfigOC.OCPolarity = TIM_OCPOLARITY_HIGH;
  sConfigOC.OCFastMode = TIM_OCFAST_DISABLE;
  if (HAL_TIM_PWM_ConfigChannel(&htim5, &sConfigOC, TIM_CHANNEL_3) != HAL_OK)
  {
    Error_Handler();
  }
  if (HAL_TIM_PWM_ConfigChannel(&htim5, &sConfigOC, TIM_CHANNEL_4) != HAL_OK)
  {
    Error_Handler();
  }
  HAL_TIM_MspPostInit(&htim5);

}

static void MX_TIM8_Init(void)
{

  TIM_ClockConfigTypeDef sClockSourceConfig = {0};
  TIM_MasterConfigTypeDef sMasterConfig = {0};
  TIM_OC_InitTypeDef sConfigOC = {0};
  TIM_BreakDeadTimeConfigTypeDef sBreakDeadTimeConfig = {0};

  htim8.Instance = TIM8;
  htim8.Init.Prescaler = 48000;
  htim8.Init.CounterMode = TIM_COUNTERMODE_UP;
  htim8.Init.Period = 29940;
  htim8.Init.ClockDivision = TIM_CLOCKDIVISION_DIV1;
  htim8.Init.RepetitionCounter = 0;
  htim8.Init.AutoReloadPreload = TIM_AUTORELOAD_PRELOAD_ENABLE;
  if (HAL_TIM_Base_Init(&htim8) != HAL_OK)
  {
    Error_Handler();
  }
  sClockSourceConfig.ClockSource = TIM_CLOCKSOURCE_INTERNAL;
  if (HAL_TIM_ConfigClockSource(&htim8, &sClockSourceConfig) != HAL_OK)
  {
    Error_Handler();
  }
  if (HAL_TIM_OC_Init(&htim8) != HAL_OK)
  {
    Error_Handler();
  }
  sMasterConfig.MasterOutputTrigger = TIM_TRGO_RESET;
  sMasterConfig.MasterOutputTrigger2 = TIM_TRGO2_RESET;
  sMasterConfig.MasterSlaveMode = TIM_MASTERSLAVEMODE_DISABLE;
  if (HAL_TIMEx_MasterConfigSynchronization(&htim8, &sMasterConfig) != HAL_OK)
  {
    Error_Handler();
  }
  sConfigOC.OCMode = TIM_OCMODE_TIMING;
  sConfigOC.Pulse = 0;
  sConfigOC.OCPolarity = TIM_OCPOLARITY_HIGH;
  sConfigOC.OCNPolarity = TIM_OCNPOLARITY_HIGH;
  sConfigOC.OCFastMode = TIM_OCFAST_DISABLE;
  sConfigOC.OCIdleState = TIM_OCIDLESTATE_RESET;
  sConfigOC.OCNIdleState = TIM_OCNIDLESTATE_RESET;
  if (HAL_TIM_OC_ConfigChannel(&htim8, &sConfigOC, TIM_CHANNEL_1) != HAL_OK)
  {
    Error_Handler();
  }
  sBreakDeadTimeConfig.OffStateRunMode = TIM_OSSR_DISABLE;
  sBreakDeadTimeConfig.OffStateIDLEMode = TIM_OSSI_DISABLE;
  sBreakDeadTimeConfig.LockLevel = TIM_LOCKLEVEL_OFF;
  sBreakDeadTimeConfig.DeadTime = 0;
  sBreakDeadTimeConfig.BreakState = TIM_BREAK_DISABLE;
  sBreakDeadTimeConfig.BreakPolarity = TIM_BREAKPOLARITY_HIGH;
  sBreakDeadTimeConfig.BreakFilter = 0;
  sBreakDeadTimeConfig.Break2State = TIM_BREAK2_DISABLE;
  sBreakDeadTimeConfig.Break2Polarity = TIM_BREAK2POLARITY_HIGH;
  sBreakDeadTimeConfig.Break2Filter = 0;
  sBreakDeadTimeConfig.AutomaticOutput = TIM_AUTOMATICOUTPUT_DISABLE;
  if (HAL_TIMEx_ConfigBreakDeadTime(&htim8, &sBreakDeadTimeConfig) != HAL_OK)
  {
    Error_Handler();
  }

}

static void MX_TIM13_Init(void)
{

  TIM_OC_InitTypeDef sConfigOC = {0};

  htim13.Instance = TIM13;
  htim13.Init.Prescaler = 480;
  htim13.Init.CounterMode = TIM_COUNTERMODE_UP;
  htim13.Init.Period = 333;
  htim13.Init.ClockDivision = TIM_CLOCKDIVISION_DIV1;
  htim13.Init.AutoReloadPreload = TIM_AUTORELOAD_PRELOAD_ENABLE;
  if (HAL_TIM_Base_Init(&htim13) != HAL_OK)
  {
    Error_Handler();
  }
  if (HAL_TIM_OC_Init(&htim13) != HAL_OK)
  {
    Error_Handler();
  }
  sConfigOC.OCMode = TIM_OCMODE_TIMING;
  sConfigOC.Pulse = 0;
  sConfigOC.OCPolarity = TIM_OCPOLARITY_HIGH;
  sConfigOC.OCFastMode = TIM_OCFAST_DISABLE;
  if (HAL_TIM_OC_ConfigChannel(&htim13, &sConfigOC, TIM_CHANNEL_1) != HAL_OK)
  {
    Error_Handler();
  }

}

static void MX_USART3_UART_Init(void)
{

  huart3.Instance = USART3;
  huart3.Init.BaudRate = 9600;
  huart3.Init.WordLength = UART_WORDLENGTH_8B;
  huart3.Init.StopBits = UART_STOPBITS_1;
  huart3.Init.Parity = UART_PARITY_NONE;
  huart3.Init.Mode = UART_MODE_TX_RX;
  huart3.Init.HwFlowCtl = UART_HWCONTROL_NONE;
  huart3.Init.OverSampling = UART_OVERSAMPLING_16;
  huart3.Init.OneBitSampling = UART_ONE_BIT_SAMPLE_DISABLE;
  huart3.Init.Prescaler = UART_PRESCALER_DIV1;
  huart3.Init.FIFOMode = UART_FIFOMODE_DISABLE;
  huart3.Init.TXFIFOThreshold = UART_TXFIFO_THRESHOLD_1_8;
  huart3.Init.RXFIFOThreshold = UART_RXFIFO_THRESHOLD_1_8;
  huart3.AdvancedInit.AdvFeatureInit = UART_ADVFEATURE_NO_INIT;
  if (HAL_UART_Init(&huart3) != HAL_OK)
  {
    Error_Handler();
  }

}

static void MX_USB_OTG_FS_PCD_Init(void)
{

  hpcd_USB_OTG_FS.Instance = USB_OTG_FS;
  hpcd_USB_OTG_FS.Init.dev_endpoints = 9;
  hpcd_USB_OTG_FS.Init.speed = PCD_SPEED_FULL;
  hpcd_USB_OTG_FS.Init.dma_enable = DISABLE;
  hpcd_USB_OTG_FS.Init.ep0_mps = DEP0CTL_MPS_64;
  hpcd_USB_OTG_FS.Init.phy_itface = PCD_PHY_EMBEDDED;
  hpcd_USB_OTG_FS.Init.Sof_enable = ENABLE;
  hpcd_USB_OTG_FS.Init.low_power_enable = DISABLE;
  hpcd_USB_OTG_FS.Init.lpm_enable = DISABLE;
  hpcd_USB_OTG_FS.Init.battery_charging_enable = ENABLE;
  hpcd_USB_OTG_FS.Init.vbus_sensing_enable = ENABLE;
  hpcd_USB_OTG_FS.Init.use_dedicated_ep1 = DISABLE;
  if (HAL_PCD_Init(&hpcd_USB_OTG_FS) != HAL_OK)
  {
    Error_Handler();
  }

}

static void MX_GPIO_Init(void)
{
  GPIO_InitTypeDef GPIO_InitStruct = {0};

  /* GPIO Ports Clock Enable */
  __HAL_RCC_GPIOC_CLK_ENABLE();
  __HAL_RCC_GPIOH_CLK_ENABLE();
  __HAL_RCC_GPIOA_CLK_ENABLE();
  __HAL_RCC_GPIOB_CLK_ENABLE();
  __HAL_RCC_GPIOF_CLK_ENABLE();
  __HAL_RCC_GPIOE_CLK_ENABLE();
  __HAL_RCC_GPIOD_CLK_ENABLE();
  __HAL_RCC_GPIOG_CLK_ENABLE();

  /*Configure GPIO pin Output Level */
  HAL_GPIO_WritePin(GPIOF, GPIO_PIN_12|GPIO_PIN_14, GPIO_PIN_RESET);

  /*Configure GPIO pin Output Level */
  HAL_GPIO_WritePin(GPIOE, GPIO_PIN_9, GPIO_PIN_RESET);

  /*Configure GPIO pin Output Level */
  HAL_GPIO_WritePin(GPIOB, LD3_Pin|LD2_Pin, GPIO_PIN_RESET);

  /*Configure GPIO pin Output Level */
  HAL_GPIO_WritePin(GPIOD, GPIO_PIN_14|GPIO_PIN_15, GPIO_PIN_RESET);

  /*Configure GPIO pin Output Level */
  HAL_GPIO_WritePin(USB_PowerSwitchOn_GPIO_Port, USB_PowerSwitchOn_Pin, GPIO_PIN_RESET);

  /*Configure GPIO pin Output Level */
  HAL_GPIO_WritePin(GPIOA, GPIO_PIN_10, GPIO_PIN_RESET);

  /*Configure GPIO pin : USER_Btn_Pin */
  GPIO_InitStruct.Pin = USER_Btn_Pin;
  GPIO_InitStruct.Mode = GPIO_MODE_IT_RISING;
  GPIO_InitStruct.Pull = GPIO_NOPULL;
  HAL_GPIO_Init(USER_Btn_GPIO_Port, &GPIO_InitStruct);

  /*Configure GPIO pins : PF12 PF14 */
  GPIO_InitStruct.Pin = GPIO_PIN_12|GPIO_PIN_14;
  GPIO_InitStruct.Mode = GPIO_MODE_OUTPUT_PP;
  GPIO_InitStruct.Pull = GPIO_NOPULL;
  GPIO_InitStruct.Speed = GPIO_SPEED_FREQ_LOW;
  HAL_GPIO_Init(GPIOF, &GPIO_InitStruct);

  /*Configure GPIO pin : PE9 */
  GPIO_InitStruct.Pin = GPIO_PIN_9;
  GPIO_InitStruct.Mode = GPIO_MODE_OUTPUT_PP;
  GPIO_InitStruct.Pull = GPIO_NOPULL;
  GPIO_InitStruct.Speed = GPIO_SPEED_FREQ_LOW;
  HAL_GPIO_Init(GPIOE, &GPIO_InitStruct);

  /*Configure GPIO pins : LD3_Pin LD2_Pin */
  GPIO_InitStruct.Pin = LD3_Pin|LD2_Pin;
  GPIO_InitStruct.Mode = GPIO_MODE_OUTPUT_PP;
  GPIO_InitStruct.Pull = GPIO_NOPULL;
  GPIO_InitStruct.Speed = GPIO_SPEED_FREQ_LOW;
  HAL_GPIO_Init(GPIOB, &GPIO_InitStruct);

  /*Configure GPIO pins : PD14 PD15 */
  GPIO_InitStruct.Pin = GPIO_PIN_14|GPIO_PIN_15;
  GPIO_InitStruct.Mode = GPIO_MODE_OUTPUT_PP;
  GPIO_InitStruct.Pull = GPIO_NOPULL;
  GPIO_InitStruct.Speed = GPIO_SPEED_FREQ_LOW;
  HAL_GPIO_Init(GPIOD, &GPIO_InitStruct);

  /*Configure GPIO pin : USB_PowerSwitchOn_Pin */
  GPIO_InitStruct.Pin = USB_PowerSwitchOn_Pin;
  GPIO_InitStruct.Mode = GPIO_MODE_OUTPUT_PP;
  GPIO_InitStruct.Pull = GPIO_NOPULL;
  GPIO_InitStruct.Speed = GPIO_SPEED_FREQ_LOW;
  HAL_GPIO_Init(USB_PowerSwitchOn_GPIO_Port, &GPIO_InitStruct);

  /*Configure GPIO pin : USB_OverCurrent_Pin */
  GPIO_InitStruct.Pin = USB_OverCurrent_Pin;
  GPIO_InitStruct.Mode = GPIO_MODE_INPUT;
  GPIO_InitStruct.Pull = GPIO_NOPULL;
  HAL_GPIO_Init(USB_OverCurrent_GPIO_Port, &GPIO_InitStruct);

  /*Configure GPIO pin : PA10 */
  GPIO_InitStruct.Pin = GPIO_PIN_10;
  GPIO_InitStruct.Mode = GPIO_MODE_OUTPUT_PP;
  GPIO_InitStruct.Pull = GPIO_NOPULL;
  GPIO_InitStruct.Speed = GPIO_SPEED_FREQ_LOW;
  HAL_GPIO_Init(GPIOA, &GPIO_InitStruct);

}

/* USER CODE BEGIN 4 */

//void SetLight(void) {
//	__HAL_TIM_SetCompare(Timer, Channel, Brightness);
//}
//
//void AnchorPWM(void) {
//	__HAL_TIM_SetCompare(&htim4, TIM_CHANNEL_1,PWM);
//}
//void NavPWM(void) {
//	__HAL_TIM_SetCompare(&htim3, TIM_CHANNEL_2,PWM);
//}
//void DeckPWM(void) {
//	__HAL_TIM_SetCompare(&htim2, TIM_CHANNEL_2,PWM);
//}
////void GalleyPWM(void) {
////	__HAL_TIM_SetCompare(&htim15, TIM_CHANNEL_1,PWM);
////}
//void Cabin1PWM(void) {
//	__HAL_TIM_SetCompare(&htim2, TIM_CHANNEL_3,PWM);
//}
//void Cabin2PWM(void) {
//	__HAL_TIM_SetCompare(&htim3, TIM_CHANNEL_1,PWM);
//}
//void RidePWM(void) {
//	__HAL_TIM_SetCompare(&htim5, TIM_CHANNEL_3,PWM);
//}

void *StringSlice(void){

	    int m = 0;
	    char *p = strtok (Rx_Buffer, "!");

	    while (p != "\r")
	    {
	        Command[m++] = p;
	        printf("%s\n", p);
	    	p = strtok (NULL, "!");
	    }

	return 0;
}

void StringSort(void)
{
	/*
	 * Split the string into components
	 */

	StringSlice();
	Device=(uint8_t)(Command[1]);				// Determine the device type
	Timer = Command[2];							// Load the timer address
	Channel=Command[3];							// Set the channel address
	State = (uint8_t)(Command[4]);				// Boolean identifier for State

	char strLen = strlen(Rx_Buffer);			// Find the string length of the Rx_Buffer
	switch (strLen) {
		case 5 :		Brightness[0] = '0';
						Brightness[1] = '0';
						strcpy(Brightness, Command[5]);

		case 6 :		Brightness[0] = '0';
						strcpy(Brightness, Command[5]);

		case 7 :		strcpy(Brightness, Command[5]);
	}
	PWM = atoi(Brightness);
	/*
	 * Perform the operation
	 */
	switch(Device)
	{
	case '1':									// Case 1 is a light

		switch (Timer) {
//			case '1':
//				switch (Channel) {
//				case '1': __HAL_TIM_SetCompare(&htim1, TIM_CHANNEL_1,PWM);
//				switch (State) {case '0': HAL_TIM_PWM_Stop(&htim1, TIM_CHANNEL_1); case '1': HAL_TIM_PWM_Start(&htim1, TIM_CHANNEL_1);}
//				case '2': __HAL_TIM_SetCompare(&htim1, TIM_CHANNEL_2,PWM);
//				switch (State) {case '0': HAL_TIM_PWM_Stop(&htim1, TIM_CHANNEL_2); case '2': HAL_TIM_PWM_Start(&htim1, TIM_CHANNEL_2);}
//				case '3': __HAL_TIM_SetCompare(&htim1, TIM_CHANNEL_3,PWM);
//				switch (State) {case '0': HAL_TIM_PWM_Stop(&htim1, TIM_CHANNEL_3); case '3': HAL_TIM_PWM_Start(&htim1, TIM_CHANNEL_3);}
//				case '4': __HAL_TIM_SetCompare(&htim1, TIM_CHANNEL_4,PWM);
//				switch (State) {case '0': HAL_TIM_PWM_Stop(&htim1, TIM_CHANNEL_4); case '1': HAL_TIM_PWM_Start(&htim1, TIM_CHANNEL_4);}
//					}
		case '2':
			switch (Channel) {
				case '1': __HAL_TIM_SetCompare(&htim2, TIM_CHANNEL_1,PWM);
					switch (State) {
						case '0': HAL_TIM_PWM_Stop(&htim2, TIM_CHANNEL_1); break;
						case '1': HAL_TIM_PWM_Start(&htim2, TIM_CHANNEL_1);
					}break;
				case '2': __HAL_TIM_SetCompare(&htim2, TIM_CHANNEL_2,PWM);
					switch (State) {
						case '0': HAL_TIM_PWM_Stop(&htim2, TIM_CHANNEL_2); break;
						case '1': HAL_TIM_PWM_Start(&htim2, TIM_CHANNEL_2);
					} break;
				case '3': __HAL_TIM_SetCompare(&htim2, TIM_CHANNEL_3,PWM);
					switch (State) {
						case '0': HAL_TIM_PWM_Stop(&htim2, TIM_CHANNEL_3); break;
						case '1': HAL_TIM_PWM_Start(&htim2, TIM_CHANNEL_3);
					}break;
				case '4': __HAL_TIM_SetCompare(&htim2, TIM_CHANNEL_4,PWM);
					switch (State) {
						case '0': HAL_TIM_PWM_Stop(&htim2, TIM_CHANNEL_4); break;
						case '1': HAL_TIM_PWM_Start(&htim2, TIM_CHANNEL_4);
					} break;
			} break;

		case '3':
			switch (Channel) {
				case '1': __HAL_TIM_SetCompare(&htim3, TIM_CHANNEL_1,PWM);
					switch (State) {
						case '0': HAL_TIM_PWM_Stop(&htim3, TIM_CHANNEL_1); break;
						case '1': HAL_TIM_PWM_Start(&htim3, TIM_CHANNEL_1);
					} break;
				case '2': __HAL_TIM_SetCompare(&htim3, TIM_CHANNEL_2,PWM);
					switch (State) {
						case '0': HAL_TIM_PWM_Stop(&htim3, TIM_CHANNEL_2); break;
						case '1': HAL_TIM_PWM_Start(&htim3, TIM_CHANNEL_2);
					} break;
				case '3': __HAL_TIM_SetCompare(&htim3, TIM_CHANNEL_3,PWM);
					switch (State) {
						case '0': HAL_TIM_PWM_Stop(&htim3, TIM_CHANNEL_3); break;
						case '1': HAL_TIM_PWM_Start(&htim3, TIM_CHANNEL_3);
					} break;
				case '4': __HAL_TIM_SetCompare(&htim3, TIM_CHANNEL_4,PWM);
					switch (State) {
						case '0': HAL_TIM_PWM_Stop(&htim3, TIM_CHANNEL_4); break;
						case '1': HAL_TIM_PWM_Start(&htim3, TIM_CHANNEL_4);
					} break;
			} break;

		case '4':
			switch (Channel) {
				case '1': __HAL_TIM_SetCompare(&htim4, TIM_CHANNEL_1,PWM);
					switch (State) {
						case '0': HAL_TIM_PWM_Stop(&htim4, TIM_CHANNEL_1); break;
						case '1': HAL_TIM_PWM_Start(&htim4, TIM_CHANNEL_1);
					} break;
				case '2': __HAL_TIM_SetCompare(&htim4, TIM_CHANNEL_2,PWM);
					switch (State) {
						case '0': HAL_TIM_PWM_Stop(&htim4, TIM_CHANNEL_2); break;
						case '1': HAL_TIM_PWM_Start(&htim4, TIM_CHANNEL_2);
					} break;
				case '3': __HAL_TIM_SetCompare(&htim4, TIM_CHANNEL_3,PWM);
					switch (State) {
						case '0': HAL_TIM_PWM_Stop(&htim4, TIM_CHANNEL_3); break;
						case '1': HAL_TIM_PWM_Start(&htim4, TIM_CHANNEL_3);
					} break;
				case '4': __HAL_TIM_SetCompare(&htim4, TIM_CHANNEL_4,PWM);
					switch (State) {
						case '0': HAL_TIM_PWM_Stop(&htim4, TIM_CHANNEL_4); break;
						case '1': HAL_TIM_PWM_Start(&htim4, TIM_CHANNEL_4);
					} break;
			} break;

		case '5':
			switch (Channel) {
				case '1': __HAL_TIM_SetCompare(&htim5, TIM_CHANNEL_1,PWM);
					switch (State) {
						case '0': HAL_TIM_PWM_Stop(&htim5, TIM_CHANNEL_1); break;
						case '1': HAL_TIM_PWM_Start(&htim5, TIM_CHANNEL_1);
					}break;
				case '2': __HAL_TIM_SetCompare(&htim5, TIM_CHANNEL_2,PWM);
					switch (State) {
						case '0': HAL_TIM_PWM_Stop(&htim5, TIM_CHANNEL_2); break;
						case '1': HAL_TIM_PWM_Start(&htim5, TIM_CHANNEL_2);
					} break;
				case '3': __HAL_TIM_SetCompare(&htim5, TIM_CHANNEL_3,PWM);
					switch (State) {
						case '0': HAL_TIM_PWM_Stop(&htim5, TIM_CHANNEL_3); break;
						case '1': HAL_TIM_PWM_Start(&htim5, TIM_CHANNEL_3);
					} break;
				case '4': __HAL_TIM_SetCompare(&htim5, TIM_CHANNEL_4,PWM);
					switch (State) {
						case '0': HAL_TIM_PWM_Stop(&htim5, TIM_CHANNEL_4); break;
						case '1': HAL_TIM_PWM_Start(&htim5, TIM_CHANNEL_4);
					} break;
			} break;

//			case '8':
//				switch (Channel) {
//					case '1': __HAL_TIM_SetCompare(&htim8, TIM_CHANNEL_1,PWM);
//						switch (State) {
//							case '0': HAL_TIM_PWM_Stop(&htim8, TIM_CHANNEL_1);
//							case '1': HAL_TIM_PWM_Start(&htim8, TIM_CHANNEL_1);}
//					case '2': __HAL_TIM_SetCompare(&htim8, TIM_CHANNEL_2,PWM);
//						switch (State) {
//							case '0': HAL_TIM_PWM_Stop(&htim8, TIM_CHANNEL_2);
//							case '1': HAL_TIM_PWM_Start(&htim8, TIM_CHANNEL_2);}
//					case '3': __HAL_TIM_SetCompare(&htim8, TIM_CHANNEL_3,PWM);
//						switch (State) {
//							case '0': HAL_TIM_PWM_Stop(&htim8, TIM_CHANNEL_3);
//							case '1': HAL_TIM_PWM_Start(&htim8, TIM_CHANNEL_3);}
//					case '4': __HAL_TIM_SetCompare(&htim8, TIM_CHANNEL_4,PWM);
//						switch (State) {
//							case '0': HAL_TIM_PWM_Stop(&htim8, TIM_CHANNEL_4);
//							case '1': HAL_TIM_PWM_Start(&htim8, TIM_CHANNEL_4);}
//				}
		} break;
	}
	for (uint8_t i=0;i<100;i++) {Rx_String[i]=0;}
}

void HAL_UART_RxCpltCallback(UART_HandleTypeDef *huart)
{
    uint8_t i;
    if (huart->Instance == USART3)  //current UART
	{
    	if (Rx_index==0) {for (i=0;i<100;i++) {
			Rx_Buffer[i]=0;   //clear Rx_Buffer before receiving new data
			Rx_String[i]=0;
		}}

	if (Rx_data[0]!=13) //if received data different from ascii 13 (enter)
	{
		Rx_Buffer[Rx_index++]=Rx_data[0];    //add data to Rx_Buffer
	}
	else            //if received data = 13
	{
		Rx_Buffer[Rx_index++]=Rx_data[0];    //add data to Rx_Buffer
		Rx_Buffer[Rx_index++]="!";    //add data to Rx_Buffer
		Rx_index=0;
		Transfer_cplt=1;//transfer complete, data is ready to read
	}

	HAL_UART_Receive_IT(&huart3, Rx_data, 1);   //activate UART receive interrupt every time
	strcpy (Rx_String, Rx_Buffer);
//	if(Transfer_cplt == 1)
//	{
//		len=sprintf(bufferEcho, Rx_Buffer);
//		HAL_UART_Transmit_IT(&huart3, bufferEcho, len);
//	}

	}

}
/* USER CODE END 4 */

void Error_Handler(void)
{
}

/************************ (C) COPYRIGHT STMicroelectronics *****END OF FILE****/
